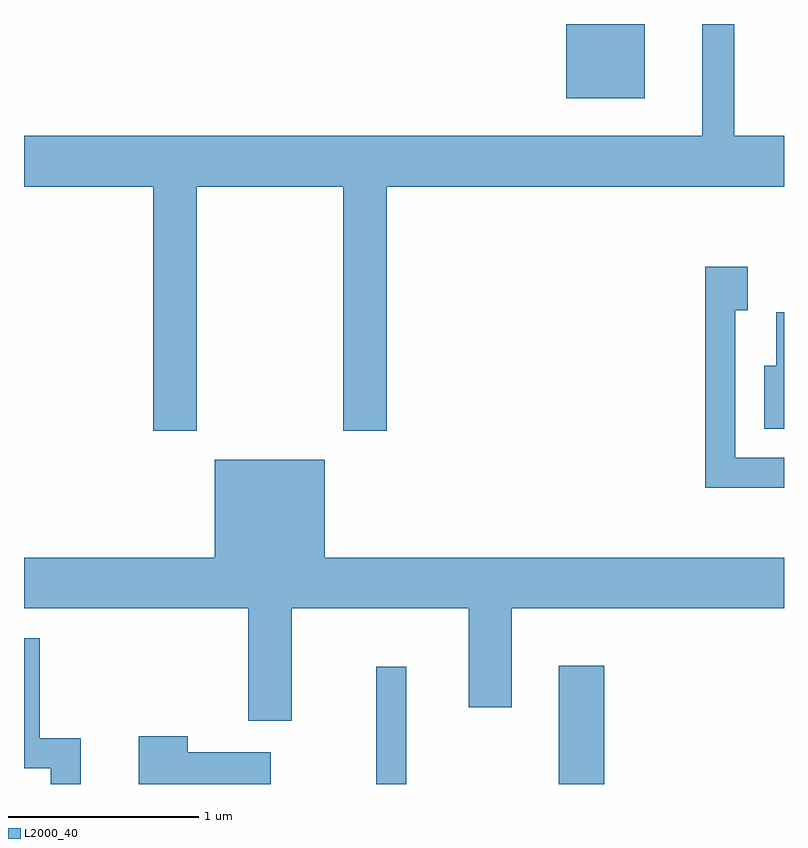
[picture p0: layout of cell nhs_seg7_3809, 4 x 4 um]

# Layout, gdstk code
import gdstk
lib = gdstk.Library(unit=1e-6, precision=1e-09)
def R(c, l, rs):  # rectangles x0, y0, x1, y1
    for r in rs: c.add(gdstk.rectangle(r[:2], r[2:], *l))
def P(c, l, *ps):  # polygons
    for p in ps: c.add(gdstk.Polygon(p, *l))
L2000_40 = (2000, 40)

nhs_seg7_3809 = lib.new_cell('nhs_seg7_3809')
R(nhs_seg7_3809, L2000_40, [(303.466,1742.252,303.624,1742.868), (304.426,1742.252,304.664,1742.874), (304.466,1745.861,304.879,1746.252)])
P(nhs_seg7_3809, L2000_40, [(302.519,1745.396),(303.291,1745.396),(303.291,1744.111),(303.519,1744.111),(303.519,1745.396),(305.611,1745.396),(305.611,1745.664),(305.349,1745.664),(305.349,1746.252),(305.181,1746.252),(305.181,1745.664),(301.611,1745.664),(301.611,1745.396),(302.291,1745.396),(302.291,1744.111),(302.519,1744.111)],
  [(305.611,1743.969),(305.354,1743.969),(305.354,1744.746),(305.419,1744.746),(305.419,1744.974),(305.196,1744.974),(305.196,1743.811),(305.611,1743.811)],
  [(305.611,1744.734),(305.571,1744.734),(305.571,1744.454),(305.506,1744.454),(305.506,1744.121),(305.611,1744.121)],
  [(303.019,1743.176),(303.951,1743.176),(303.951,1742.656),(304.179,1742.656),(304.179,1743.176),(305.611,1743.176),(305.611,1743.444),(303.194,1743.444),(303.194,1743.959),(302.616,1743.959),(302.616,1743.444),(301.611,1743.444),(301.611,1743.176),(302.791,1743.176),(302.791,1742.586),(303.019,1742.586)],
  [(301.909,1742.494),(301.694,1742.494),(301.694,1743.019),(301.611,1743.019),(301.611,1742.336),(301.751,1742.336),(301.751,1742.252),(301.909,1742.252)],
  [(302.909,1742.419),(302.474,1742.419),(302.474,1742.504),(302.216,1742.504),(302.216,1742.252),(302.909,1742.252)])

lib.write_gds('nhs_seg7_3809.gds')
